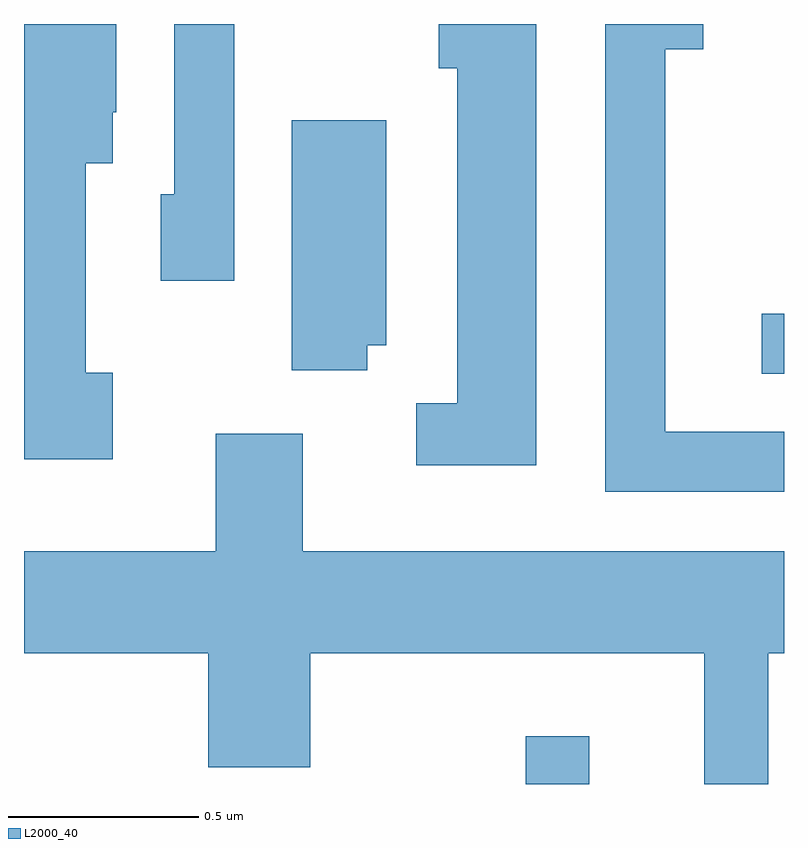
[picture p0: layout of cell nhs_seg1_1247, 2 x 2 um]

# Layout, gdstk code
import gdstk
lib = gdstk.Library(unit=1e-6, precision=1e-09)
def R(c, l, rs):  # rectangles x0, y0, x1, y1
    for r in rs: c.add(gdstk.rectangle(r[:2], r[2:], *l))
def P(c, l, *ps):  # polygons
    for p in ps: c.add(gdstk.Polygon(p, *l))
L2000_40 = (2000, 40)

nhs_seg1_1247 = lib.new_cell('nhs_seg1_1247')
R(nhs_seg1_1247, L2000_40, [(195.931,863.712,196.099,863.838), (196.553,864.791,196.611,864.949)])
P(nhs_seg1_1247, L2000_40, [(196.611,864.639),(196.299,864.639),(196.299,865.646),(196.398,865.646),(196.398,865.712),(196.141,865.712),(196.141,864.481),(196.611,864.481)],
  [(194.844,864.794),(194.774,864.794),(194.774,865.346),(194.844,865.346),(194.844,865.48),(194.854,865.48),(194.854,865.712),(194.611,865.712),(194.611,864.566),(194.844,864.566)],
  [(195.959,865.712),(195.703,865.712),(195.703,865.596),(195.751,865.596),(195.751,864.714),(195.643,864.714),(195.643,864.551),(195.959,864.551)],
  [(195.164,865.712),(195.006,865.712),(195.006,865.264),(194.971,865.264),(194.971,865.036),(195.164,865.036)],
  [(195.514,864.866),(195.564,864.866),(195.564,865.459),(195.316,865.459),(195.316,864.801),(195.514,864.801)],
  [(196.569,864.056),(196.611,864.056),(196.611,864.324),(195.344,864.324),(195.344,864.634),(195.116,864.634),(195.116,864.324),(194.611,864.324),(194.611,864.056),(195.096,864.056),(195.096,863.756),(195.364,863.756),(195.364,864.056),(196.401,864.056),(196.401,863.712),(196.569,863.712)])

lib.write_gds('nhs_seg1_1247.gds')
